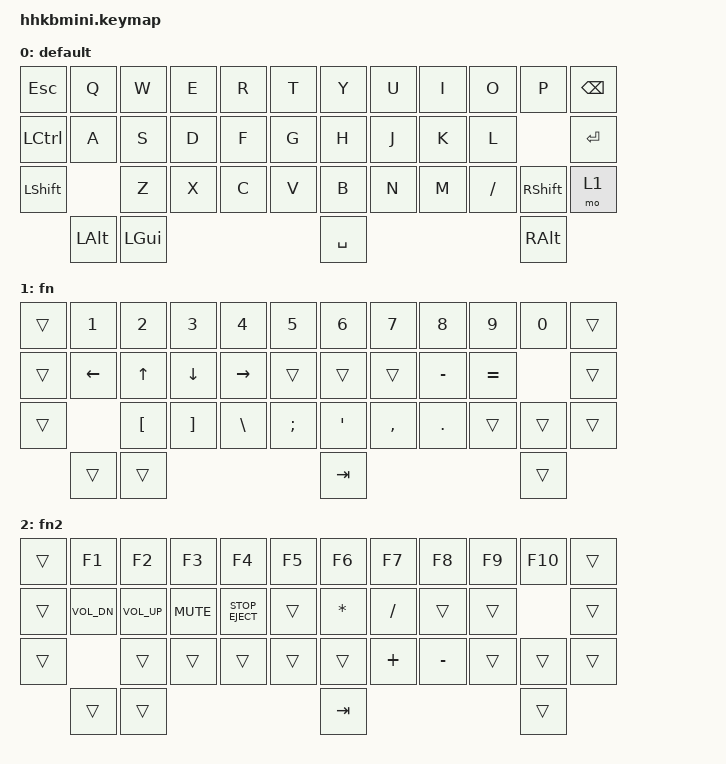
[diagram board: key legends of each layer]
#include <behaviors.dtsi>
#include <dt-bindings/zmk/keys.h>

/ {
    combos {
        compatible = "zmk,combos";

        toggle {
            bindings = <&tog 2>;
            key-positions = <34 36>;
        };
    };

    keymap {
        compatible = "zmk,keymap";

        default {
            bindings = <
&kp ESC    &kp Q         &kp W     &kp E  &kp R  &kp T  &kp Y      &kp U  &kp I  &kp O     &kp P      &kp BSPC
&kp LCTRL  &kp A         &kp S     &kp D  &kp F  &kp G  &kp H      &kp J  &kp K  &kp L                &kp ENTER
&kp LSHFT                &kp Z     &kp X  &kp C  &kp V  &kp B      &kp N  &kp M  &kp FSLH  &kp RSHFT  &mo 1
           &kp LEFT_ALT  &kp LGUI                       &kp SPACE                          &kp RALT
            >;
        };

        fn {
            bindings = <
&trans  &kp N1    &kp N2        &kp N3          &kp N4     &kp N5    &kp N6    &kp N7     &kp N8     &kp N9     &kp N0  &trans
&trans  &kp LEFT  &kp UP_ARROW  &kp DOWN_ARROW  &kp RIGHT  &trans    &trans    &trans     &kp MINUS  &kp EQUAL          &trans
&trans            &kp LBKT      &kp RBKT        &kp BSLH   &kp SEMI  &kp APOS  &kp COMMA  &kp DOT    &trans     &trans  &trans
        &trans    &trans                                             &kp TAB                                    &trans
            >;
        };

        fn2 {
            bindings = <
&trans  &kp F1        &kp F2           &kp F3      &kp F4            &kp F5  &kp F6        &kp F7     &kp F8     &kp F9  &kp F10  &trans
&trans  &kp C_VOL_DN  &kp C_VOLUME_UP  &kp C_MUTE  &kp C_STOP_EJECT  &trans  &kp ASTERISK  &kp SLASH  &trans     &trans           &trans
&trans                &trans           &trans      &trans            &trans  &trans        &kp PLUS   &kp MINUS  &trans  &trans   &trans
        &trans        &trans                                                 &kp TAB                                     &trans
            >;
        };
    };
};
